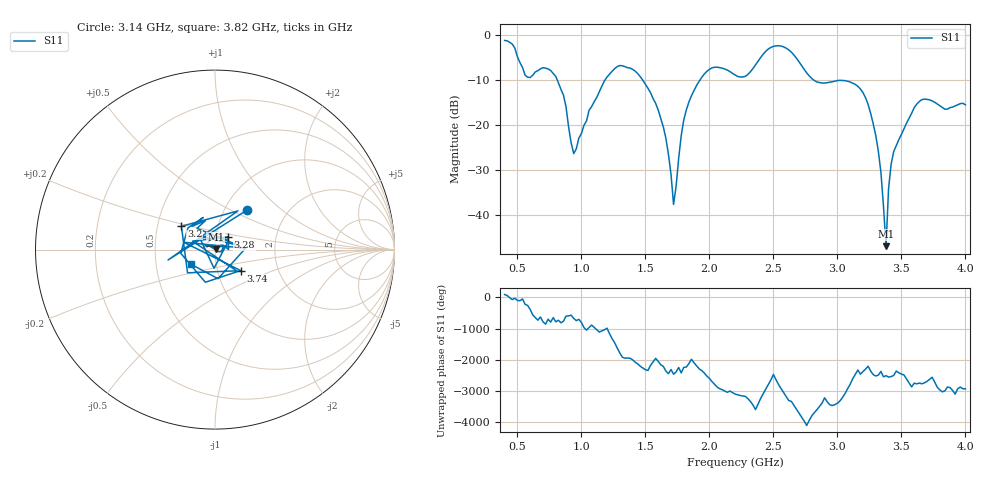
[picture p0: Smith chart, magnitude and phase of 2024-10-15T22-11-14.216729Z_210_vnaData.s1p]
! Created with skrf (http://scikit-rf.org).
# Hz S RI R 50.0
!freq ReS11 ImS11
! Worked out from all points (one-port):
!   181 points, 400 MHz to 4 GHz, reference 50 ohm
!   lowest |S11| = -47.0 dB at 3.38 GHz (marker M1), VSWR 1.01, Z = 50.4 + j0.0823 ohm
!   |S11| at or under -10 dB: 811 MHz to 1.185 GHz (374.2 MHz wide, 37.5 % of centre); 1.478 GHz to 1.927 GHz (449.2 MHz wide, 26.4 % of centre); 2.814 GHz to end of sweep
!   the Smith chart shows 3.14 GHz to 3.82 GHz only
!   S11 on the Smith chart (normalised r, x): 3.14 GHz: 1.27, +0.60; 3.2 GHz: 0.66, +0.18; 3.28 GHz: 1.15, +0.17; 3.74 GHz: 1.29, -0.31; 3.82 GHz: 0.76, -0.13
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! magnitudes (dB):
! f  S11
! 400 MHz  -1.2
! 560 MHz  -8.9
! 740 MHz  -7.6
! 860 MHz  -13.4
! 940 MHz  -26.4
! 1.3 GHz  -6.8
! 1.6 GHz  -16.7
! 1.66 GHz  -23.0
! 1.72 GHz  -37.7
! 1.76 GHz  -27.5
! 1.82 GHz  -16.7
! 1.94 GHz  -9.4
! 2.2 GHz  -8.9
! 2.5 GHz  -2.5
! 2.66 GHz  -4.4
! 2.84 GHz  -10.5
! 3.1 GHz  -10.5
! 3.14 GHz  -11.0
! 3.2 GHz  -12.8
! 3.28 GHz  -19.8
! 3.34 GHz  -30.6
! 3.38 GHz  -47.0
! 3.4 GHz  -34.2
! 3.42 GHz  -28.8
! 3.56 GHz  -18.6
! 3.74 GHz  -14.7
! 3.82 GHz  -16.2
! 4 GHz  -15.6
